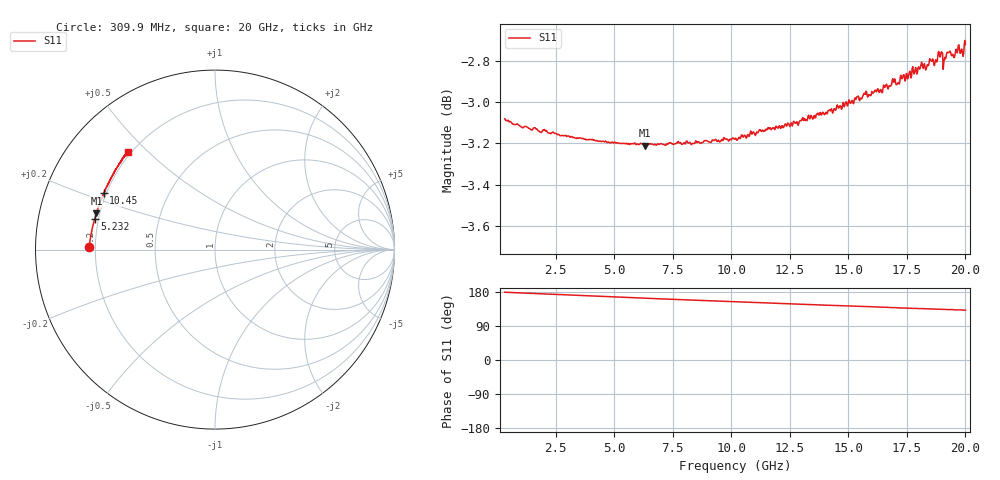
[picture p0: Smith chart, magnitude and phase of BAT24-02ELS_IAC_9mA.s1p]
! Infineon Technologies  Discrete & RF Semiconductors
! BAT24-02ELS
! IAC = 9 mA
! One-Port S-Parameters
# Hz  S  MA  R  50
!f  S11
!Hz  Mag  Ang
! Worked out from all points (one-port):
!   789 points, 309.9 MHz to 20 GHz, reference 50 ohm
!   lowest |S11| = -3.2 dB at 6.307 GHz (marker M1), VSWR 5.47, Z = 9.34 + j7.22 ohm
!   |S11| at or under -10 dB: nowhere
!   S11 on the Smith chart (normalised r, x): 309.9 MHz: 0.18, +0.01; 5.232 GHz: 0.18, +0.12; 10.45 GHz: 0.19, +0.23; 20 GHz: 0.19, +0.44
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3.0985e8  0.7015 178.9
2.783612e9  0.695 172.1
5.232388e9  0.6918 165.6
6.30685e9  0.691 163.0
7.70615e9  0.6925 159.6
1.015492e10  0.6935 153.7
1.045478e10  0.6951 153.1
1.262869e10  0.6995 147.9
1.507746e10  0.7075 142.6
1.64018e10  0.7127 139.5
1.66017e10  0.7146 139.1
1.677661e10  0.7143 138.5
1.695152e10  0.716 138.3
1.715142e10  0.7156 137.6
1.755122e10  0.7176 136.7
1.82009e10  0.7215 135.4
1.837581e10  0.7231 134.9
1.855072e10  0.7244 134.8
1.875062e10  0.7248 134.3
1.895052e10  0.7276 133.9
1.912544e10  0.726 133.5
1.932534e10  0.7284 133.1
1.950025e10  0.7261 132.6
1.962519e10  0.7289 132.5
1.967516e10  0.7291 132.2
1.982509e10  0.729 132.0
1.987506e10  0.728 132.0
2e10  0.7312 131.7
